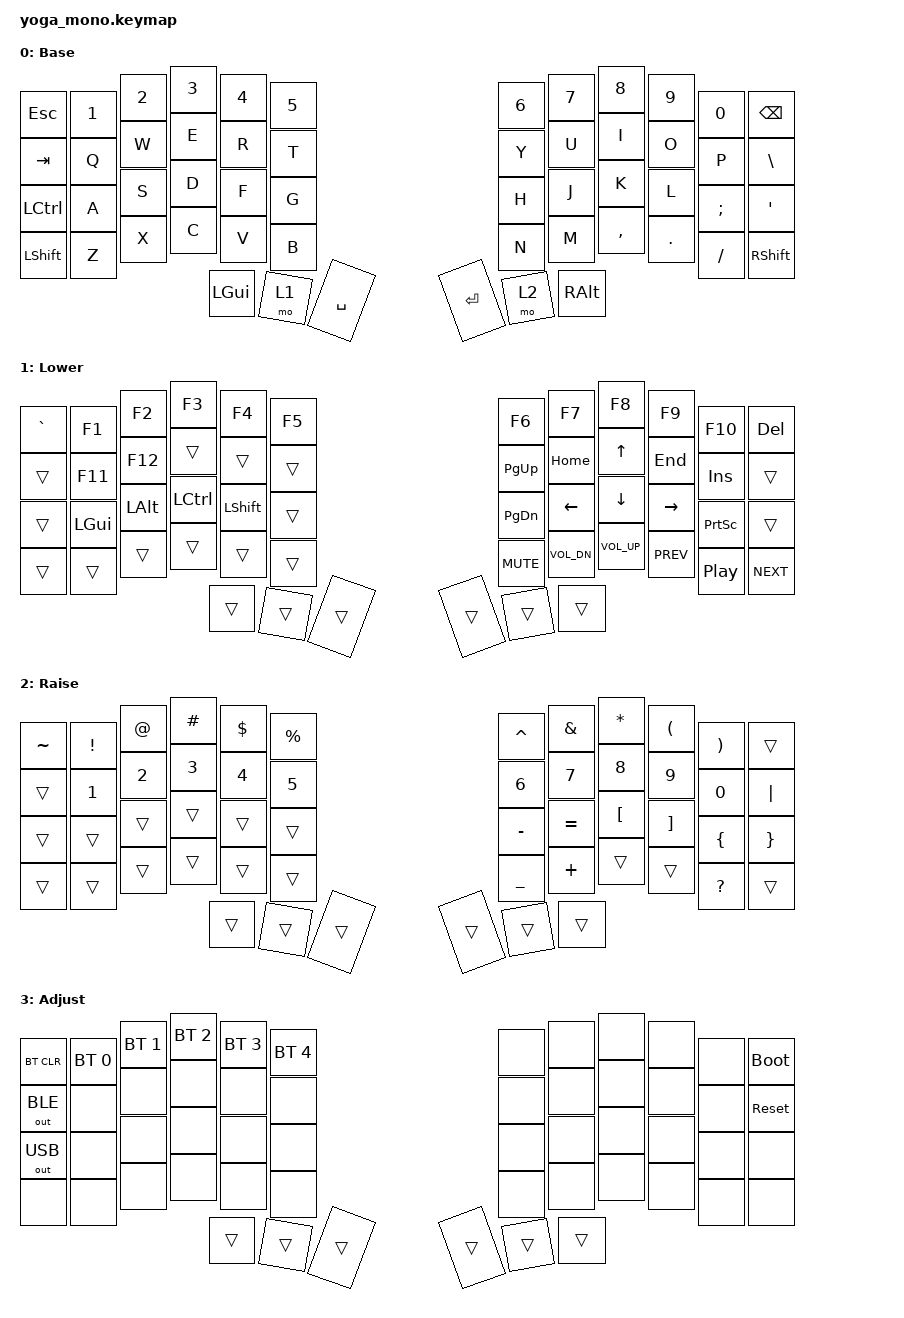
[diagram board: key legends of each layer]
/*
 * SPDX-License-Identifier: MIT
 */

#include <behaviors.dtsi>
#include <dt-bindings/zmk/keys.h>
#include <dt-bindings/zmk/bt.h>
#include <dt-bindings/zmk/outputs.h>

/ {
    conditional_layers {
        compatible = "zmk,conditional-layers";
        adjust { if-layers = <1 2>; then-layer = <3>; };
    };

    keymap {
        compatible = "zmk,keymap";
        base_layer {
            display-name = "Base";
            bindings = <
                &kp ESC         &kp N1          &kp N2          &kp N3          &kp N4          &kp N5            &kp N6          &kp N7          &kp N8          &kp N9          &kp N0          &kp BSPC      
                &kp TAB         &kp Q           &kp W           &kp E           &kp R           &kp T             &kp Y           &kp U           &kp I           &kp O           &kp P           &kp BSLH      
                &kp LCTRL       &kp A           &kp S           &kp D           &kp F           &kp G             &kp H           &kp J           &kp K           &kp L           &kp SEMI        &kp SQT       
                &kp LSHFT       &kp Z           &kp X           &kp C           &kp V           &kp B             &kp N           &kp M           &kp COMMA       &kp DOT         &kp FSLH        &kp RSHFT     
                                                                &kp LGUI        &mo 1           &kp SPACE         &kp RET         &mo 2           &kp RALT      
            >;
        };
        lower_layer {
            display-name = "Lower";
            bindings = <
                &kp GRAVE       &kp F1          &kp F2          &kp F3          &kp F4          &kp F5            &kp F6          &kp F7          &kp F8          &kp F9          &kp F10         &kp DEL       
                &trans          &kp F11         &kp F12         &trans          &trans          &trans            &kp PG_UP       &kp HOME        &kp UP          &kp END         &kp INS         &trans        
                &trans          &kp LGUI        &kp LALT        &kp LCTRL       &kp LSHFT       &trans            &kp PG_DN       &kp LEFT        &kp DOWN        &kp RIGHT       &kp PSCRN       &trans        
                &trans          &trans          &trans          &trans          &trans          &trans            &kp C_MUTE      &kp C_VOL_DN    &kp C_VOL_UP    &kp C_PREV      &kp C_PP        &kp C_NEXT    
                                                                &trans          &trans          &trans            &trans          &trans          &trans        
            >;
        };
        raise_layer {
            display-name = "Raise";
            bindings = <
                &kp TILDE       &kp EXCL        &kp AT          &kp HASH        &kp DLLR        &kp PRCNT         &kp CARET       &kp AMPS        &kp STAR        &kp LPAR        &kp RPAR        &trans        
                &trans          &kp N1          &kp N2          &kp N3          &kp N4          &kp N5            &kp N6          &kp N7          &kp N8          &kp N9          &kp N0          &kp PIPE      
                &trans          &trans          &trans          &trans          &trans          &trans            &kp MINUS       &kp EQUAL       &kp LBKT        &kp RBKT        &kp LBRC        &kp RBRC      
                &trans          &trans          &trans          &trans          &trans          &trans            &kp UNDER       &kp PLUS        &trans          &trans          &kp QMARK       &trans        
                                                                &trans          &trans          &trans            &trans          &trans          &trans        
            >;
        };
        adjust_layer {
            display-name = "Adjust";
            bindings = <
                &bt BT_CLR      &bt BT_SEL 0    &bt BT_SEL 1    &bt BT_SEL 2    &bt BT_SEL 3    &bt BT_SEL 4      &none           &none           &none           &none           &none           &bootloader   
                &out OUT_BLE    &none           &none           &none           &none           &none             &none           &none           &none           &none           &none           &sys_reset    
                &out OUT_USB    &none           &none           &none           &none           &none             &none           &none           &none           &none           &none           &none         
                &none           &none           &none           &none           &none           &none             &none           &none           &none           &none           &none           &none         
                                                                &trans          &trans          &trans            &trans          &trans          &trans        
            >;
        };
    };
};
